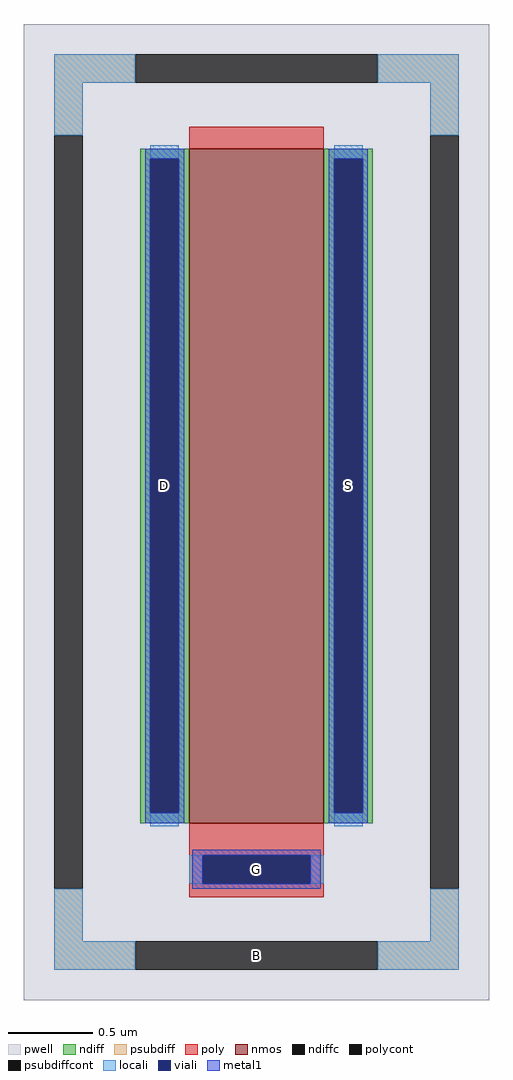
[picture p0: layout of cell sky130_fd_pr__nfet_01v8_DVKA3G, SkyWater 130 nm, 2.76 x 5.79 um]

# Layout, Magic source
magic
tech sky130A
magscale 1 2
<< pwell >>
rect -276 -579 276 579
<< nmos >>
rect -80 -369 80 431
<< ndiff >>
rect -138 419 -80 431
rect -138 -357 -126 419
rect -92 -357 -80 419
rect -138 -369 -80 -357
rect 80 419 138 431
rect 80 -357 92 419
rect 126 -357 138 419
rect 80 -369 138 -357
<< ndiffc >>
rect -126 -357 -92 419
rect 92 -357 126 419
<< psubdiff >>
rect -240 509 -144 543
rect 144 509 240 543
rect -240 447 -206 509
rect 206 447 240 509
rect -240 -509 -206 -447
rect 206 -509 240 -447
rect -240 -543 -144 -509
rect 144 -543 240 -509
<< psubdiffcont >>
rect -144 509 144 543
rect -240 -447 -206 447
rect 206 -447 240 447
rect -144 -543 144 -509
<< poly >>
rect -80 431 80 457
rect -80 -407 80 -369
rect -80 -441 -64 -407
rect 64 -441 80 -407
rect -80 -457 80 -441
<< polycont >>
rect -64 -441 64 -407
<< locali >>
rect -240 509 -144 543
rect 144 509 240 543
rect -240 447 -206 509
rect 206 447 240 509
rect -126 419 -92 435
rect -126 -373 -92 -357
rect 92 419 126 435
rect 92 -373 126 -357
rect -80 -441 -64 -407
rect 64 -441 80 -407
rect -240 -509 -206 -447
rect 206 -509 240 -447
rect -240 -543 -144 -509
rect 144 -543 240 -509
<< viali >>
rect -126 -357 -92 419
rect 92 -357 126 419
rect -64 -441 64 -407
<< metal1 >>
rect -132 419 -86 431
rect -132 -357 -126 419
rect -92 -357 -86 419
rect -132 -369 -86 -357
rect 86 419 132 431
rect 86 -357 92 419
rect 126 -357 132 419
rect 86 -369 132 -357
rect -76 -407 76 -401
rect -76 -441 -64 -407
rect 64 -441 76 -407
rect -76 -447 76 -441
<< labels >>
rlabel psubdiffcont 0 -526 0 -526 0 B
port 1 nsew
rlabel ndiffc -109 31 -109 31 0 D
port 2 nsew
rlabel ndiffc 109 31 109 31 0 S
port 3 nsew
rlabel polycont 0 -424 0 -424 0 G
port 4 nsew
<< properties >>
string FIXED_BBOX -223 -526 223 526
string gencell sky130_fd_pr__nfet_01v8
string library sky130
string parameters w 4.0 l 0.8 m 1 nf 1 diffcov 100 polycov 100 guard 1 glc 1 grc 1 gtc 1 gbc 1 tbcov 100 rlcov 100 topc 0 botc 1 poverlap 0 doverlap 1 lmin 0.15 wmin 0.42 class mosfet compatible {sky130_fd_pr__nfet_01v8 sky130_fd_pr__nfet_01v8_lvt  sky130_fd_bs_flash__special_sonosfet_star  sky130_fd_pr__nfet_g5v0d10v5 sky130_fd_pr__nfet_05v0_nvt  sky130_fd_pr__nfet_03v3_nvt} full_metal 1 conn_gates 0 viasrc 100 viadrn 100 viagate 100 viagb 0 viagr 0 viagl 0 viagt 0 doports 1
<< end >>
